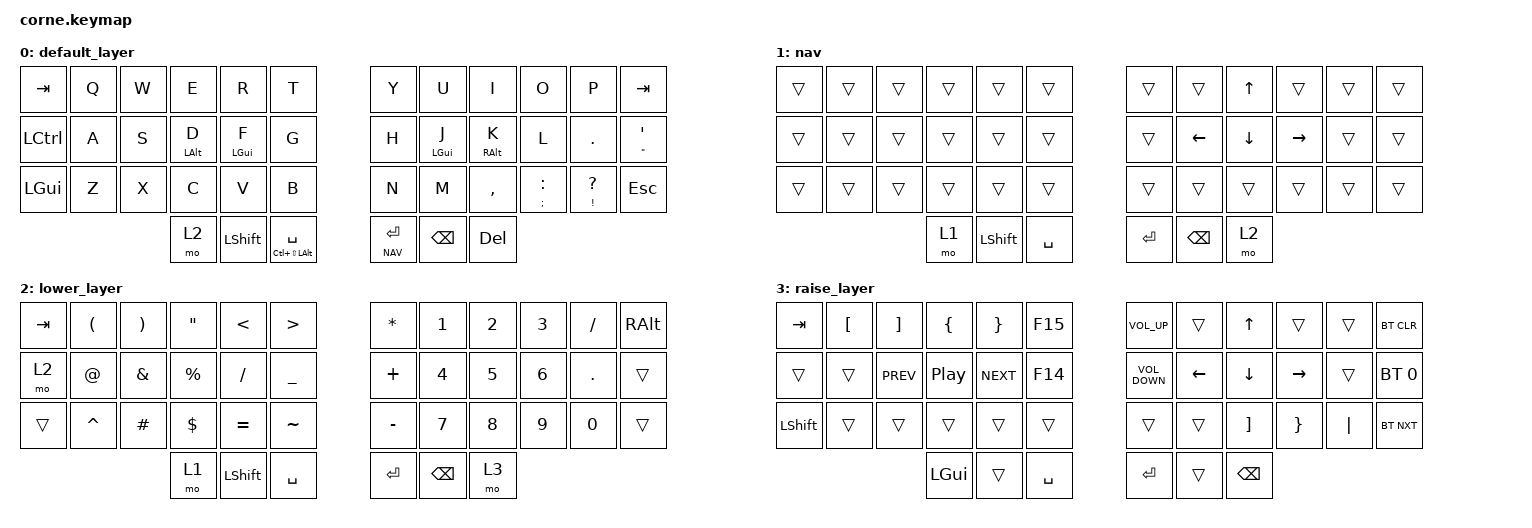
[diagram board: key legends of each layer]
/*
 * Copyright (c) 2020 The ZMK Contributors
 *
 * SPDX-License-Identifier: MIT
 */

#include <behaviors.dtsi>
#include <dt-bindings/zmk/bt.h>
#include <dt-bindings/zmk/keys.h>

#define NAV 1

&mt {
    flavor = "tap-preferred";
    tapping_term_ms = <200>;
};

/ {
    behaviors {
        th_tap: homerow_mods {
            compatible = "zmk,behavior-hold-tap";
            label = "Home Row Mods";
            #binding-cells = <2>;
            tapping-term-ms = <200>;
            quick-tap-ms = <0>;
            flavor = "tap-preferred";
            bindings = <&kp>, <&kp>;
        };

        gqt: global-quick-tap {
            compatible = "zmk,behavior-hold-tap";
            label = "GLOBAL_QUICK_TAP";
            #binding-cells = <2>;
            flavor = "tap-preferred";
            tapping-term-ms = <200>;
            quick-tap-ms = <125>;
            global-quick-tap;
            bindings = <&kp>, <&kp>;
        };
    };

    keymap {
        compatible = "zmk,keymap";

        default_layer {
            bindings = <
&kp TAB    &kp Q  &kp W  &kp E           &kp R           &kp T                      &kp Y        &kp U           &kp I           &kp O               &kp P               &kp TAB
&kp LCTRL  &kp A  &kp S  &th_tap LALT D  &th_tap LGUI F  &kp G                      &kp H        &th_tap LGUI J  &th_tap RALT K  &kp L               &kp DOT             &th_tap DQT SQT
&kp LGUI   &kp Z  &kp X  &kp C           &kp V           &kp B                      &kp N        &kp M           &kp COMMA       &th_tap SEMI COLON  &th_tap EXCL QMARK  &kp ESC
                         &mo 2           &kp LSHIFT      &gqt LC(LS(LALT)) SPACE    &lt NAV RET  &kp BSPC        &kp DEL
            >;
        };

        nav {
            bindings = <
&trans  &trans  &trans  &trans  &trans      &trans       &trans   &trans    &kp UP    &trans     &trans  &trans
&trans  &trans  &trans  &trans  &trans      &trans       &trans   &kp LEFT  &kp DOWN  &kp RIGHT  &trans  &trans
&trans  &trans  &trans  &trans  &trans      &trans       &trans   &trans    &trans    &trans     &trans  &trans
                        &mo 1   &kp LSHIFT  &kp SPACE    &kp RET  &kp BSPC  &mo 2
            >;
        };

        lower_layer {
            bindings = <
&kp TAB  &kp LPAR   &kp RPAR  &kp DQT    &kp LESS_THAN  &kp GREATER_THAN    &kp STAR   &kp N1    &kp N2  &kp N3  &kp FSLH  &kp RALT
&mo 2    &kp AT     &kp AMPS  &kp PRCNT  &kp FSLH       &kp UNDER           &kp PLUS   &kp N4    &kp N5  &kp N6  &kp DOT   &trans
&trans   &kp CARET  &kp HASH  &kp DLLR   &kp EQUAL      &kp TILDE           &kp MINUS  &kp N7    &kp N8  &kp N9  &kp N0    &trans
                              &mo 1      &kp LSHIFT     &kp SPACE           &kp RET    &kp BSPC  &mo 3
            >;
        };

        raise_layer {
            bindings = <
&kp TAB    &kp LBKT  &kp RBKT    &kp LBRC          &kp RBRC    &kp F15      &kp C_VOLUME_UP    &trans    &kp UP    &trans     &trans    &bt BT_CLR
&trans     &trans    &kp C_PREV  &kp C_PLAY_PAUSE  &kp C_NEXT  &kp F14      &kp C_VOLUME_DOWN  &kp LEFT  &kp DOWN  &kp RIGHT  &trans    &bt BT_SEL 0
&kp LSHFT  &trans    &trans      &trans            &trans      &trans       &trans             &trans    &kp RBKT  &kp RBRC   &kp PIPE  &bt BT_NXT
                                 &kp LGUI          &trans      &kp SPACE    &kp RET            &trans    &kp BSPC
            >;
        };
    };
};
